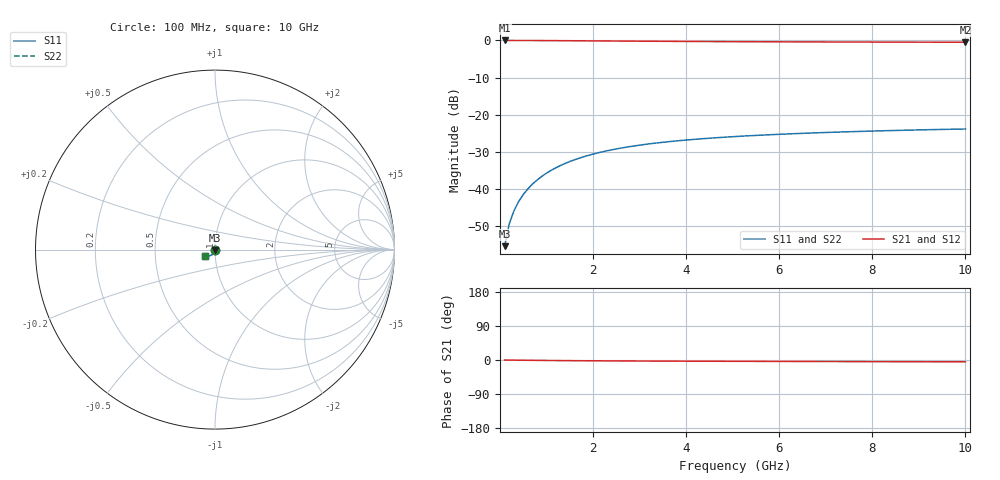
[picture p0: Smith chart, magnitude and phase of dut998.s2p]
! Touchstone file exported from HFSS 2024.1.0
!  File:  C:/UserFiles/LocalFiles/RDL_TSV_Batchsim/temp_TSV1_998_1779953469.aedt
!  Generated:  03:35:20 PM May 28, 2026
!  Design:  TSV1
!  Project:  temp_TSV1_998_1779953469
!  Setup:  Setup1
!  Solution:  Sweep
! Variables:
!  dtsv = 14.99um
!  hbump = 3um
!  htsv = 68.45um
!  lrdl = 252.1521522um
!  p = 40
!  p1 = 43.12um
!  t = 500um
!  trdl = 3um
!  wrdl = 24.89489489um
# GHz S MA R 50.000000
! Terminal data exported
! Port[1] = TSV22_T1
! Port[2] = TSV22_T2
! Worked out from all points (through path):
!   100 points, 100 MHz to 10 GHz, reference 50 ohm
!   highest |S21| = 0.00 dB at 100 MHz (marker M1); lowest = -0.5 dB at 10 GHz (marker M2)
!   lowest |S11| = -55.4 dB at 100 MHz (marker M3), VSWR 1.00, Z = 50 - j0.17 ohm
!   |S11| at or under -10 dB: start of sweep to end of sweep
!   |S22| runs from -55.4 to -23.8 dB; largest |S21 - S12| = 3.2e-15
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0.1  0.001696 -88.9  0.9999 -0.1  0.9999 -0.1  0.001696 -88.9
! Gamma 0 0 0 0
! Port Impedance 50 0 50 0
0.2  0.003387 -91.8  0.9997 -0.3  0.9997 -0.3  0.003387 -91.8
0.3  0.00507 -93.7  0.9995 -0.4  0.9995 -0.4  0.00507 -93.7
0.4  0.006742 -95.5  0.9992 -0.5  0.9992 -0.5  0.006742 -95.5
0.5  0.008399 -97.1  0.9988 -0.6  0.9988 -0.6  0.008399 -97.1
0.6  0.01004 -98.7  0.9983 -0.8  0.9983 -0.8  0.01004 -98.7
0.7  0.01165 -100.2  0.9977 -0.9  0.9977 -0.9  0.01165 -100.2
0.8  0.01324 -101.7  0.9971 -1.0  0.9971 -1.0  0.01324 -101.7
0.9  0.0148 -103.1  0.9964 -1.1  0.9964 -1.1  0.0148 -103.1
1.1  0.01781 -105.8  0.9949 -1.3  0.9949 -1.3  0.01781 -105.8
1.4  0.02206 -109.7  0.9923 -1.6  0.9923 -1.6  0.02206 -109.7
1.6  0.02469 -112.2  0.9905 -1.8  0.9905 -1.8  0.02469 -112.2
1.8  0.02717 -114.4  0.9886 -1.9  0.9886 -1.9  0.02717 -114.4
2.1  0.03057 -117.6  0.9857 -2.2  0.9857 -2.2  0.03057 -117.6
2.5  0.0346 -121.4  0.982 -2.4  0.982 -2.4  0.0346 -121.4
2.9  0.03809 -124.7  0.9785 -2.6  0.9785 -2.6  0.03809 -124.7
3.4  0.04183 -128.2  0.9744 -2.9  0.9744 -2.9  0.04183 -128.2
4.2  0.0467 -132.8  0.9686 -3.2  0.9686 -3.2  0.0467 -132.8
5.1  0.051 -136.7  0.9632 -3.5  0.9632 -3.5  0.051 -136.7
6.7  0.05673 -141.8  0.9558 -3.9  0.9558 -3.9  0.05673 -141.8
8.4  0.06113 -145.6  0.9501 -4.4  0.9501 -4.4  0.06113 -145.6
10  0.06424 -148.2  0.9461 -4.8  0.9461 -4.8  0.06424 -148.2
